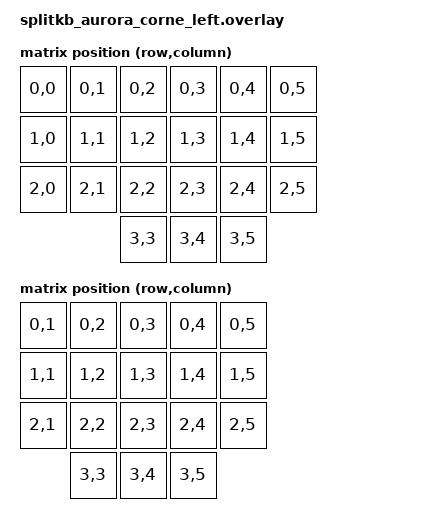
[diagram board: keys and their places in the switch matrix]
/*
 * Copyright (c) 2022 The ZMK Contributors
 *
 * SPDX-License-Identifier: MIT
 */

#include <dt-bindings/zmk/matrix_transform.h>

#include <boards/shields/corne/corne_left.dtsi>
#include <layouts/foostan/corne/5column.dtsi>
#include <layouts/foostan/corne/6column.dtsi>

&foostan_corne_6col_layout {
    transform = <&default_transform>;
};

&foostan_corne_5col_layout {
    transform = <&five_column_transform>;
};

/ {

    chosen {
        zmk,physical-layout = &foostan_corne_6col_layout;
    };

    default_transform: keymap_transform_0 {
        compatible = "zmk,matrix-transform";
        columns = <12>;
        rows = <4>;
// Left half only
// | SW1  | SW2  | SW3  | SW4  | SW5  | SW6  |
// | SW7  | SW8  | SW9  | SW10 | SW11 | SW12 |
// | SW13 | SW14 | SW15 | SW16 | SW17 | SW18 |
//               | SW19 | SW20 | SW21 |
        map = <
RC(0,0) RC(0,1) RC(0,2) RC(0,3) RC(0,4) RC(0,5)
RC(1,0) RC(1,1) RC(1,2) RC(1,3) RC(1,4) RC(1,5)
RC(2,0) RC(2,1) RC(2,2) RC(2,3) RC(2,4) RC(2,5)
                RC(3,3) RC(3,4) RC(3,5)
        >;
    };

    five_column_transform: keymap_transform_1 {
        compatible = "zmk,matrix-transform";
        columns = <10>;
        rows = <4>;
// Left half only (5 column variant)
// | SW2  | SW3  | SW4  | SW5  | SW6  |
// | SW8  | SW9  | SW10 | SW11 | SW12 |
// | SW14 | SW15 | SW16 | SW17 | SW18 |
//        | SW19 | SW20 | SW21 |
        map = <
RC(0,1) RC(0,2) RC(0,3) RC(0,4) RC(0,5)
RC(1,1) RC(1,2) RC(1,3) RC(1,4) RC(1,5)
RC(2,1) RC(2,2) RC(2,3) RC(2,4) RC(2,5)
        RC(3,3) RC(3,4) RC(3,5)
        >;
    };

};
